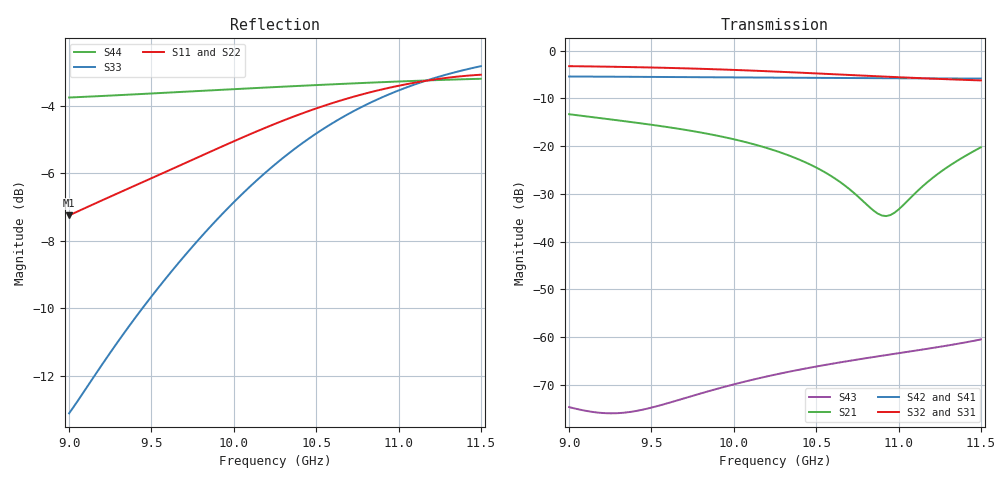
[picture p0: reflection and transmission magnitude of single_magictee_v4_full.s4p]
! Generated from PyAEDT SolutionData; AEDT ExportNetworkData workaround
# GHz S MA R 50
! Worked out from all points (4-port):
!   101 points, 9 GHz to 11.5 GHz, reference 50 ohm
!   strongest paths, dB at 9 GHz, 9.625 GHz, 10.25 GHz, 10.88 GHz, 11.5 GHz:
!     S32: -3.2, -3.6, -4.4, -5.3, -6.2
!     S31: -3.2, -3.6, -4.4, -5.4, -6.2
!     S42: -5.4, -5.5, -5.6, -5.7, -5.8
!     S41: -5.4, -5.5, -5.6, -5.8, -5.9
!     S21: -13.3, -16.1, -20.9, -34.1, -20.2
!     S43: -74.7, -73.6, -67.9, -64.0, -60.5
!   lowest |S11| = -7.2 dB at 9 GHz (marker M1), VSWR 2.53, Z = 73.7 + j53.5 ohm
!   |S11| at or under -10 dB: nowhere
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9  0.4342 42.7  0.2164 -130.1  0.6893 -71.1  0.5381 37.0
   0.2164 -130.1  0.4337 42.6  0.6899 -71.1  0.5377 -143.0
   0.6893 -71.1  0.6899 -71.1  0.221 2.2  0.0001843 38.5
   0.5381 37.0  0.5377 -143.0  0.0001843 38.5  0.6491 -151.2
9.525  0.496 -16.1  0.1654 152.5  0.6659 -171.3  0.5322 -20.0
       0.1654 152.5  0.4954 -16.1  0.6665 -171.3  0.532 159.9
       0.6659 -171.3  0.6665 -171.3  0.3352 -152.1  0.0001868 -0.2
       0.5322 -20.0  0.532 159.9  0.0001868 -0.2  0.6586 158.9
10.025  0.5625 -72.7  0.1155 81.9  0.6273 98.3  0.526 -72.1
        0.1155 81.9  0.5618 -72.8  0.628 98.3  0.526 107.8
        0.6273 98.3  0.628 98.3  0.4605 83.1  0.0003271 -63.9
        0.526 -72.1  0.526 107.8  0.0003271 -63.9  0.6684 112.7
10.45  0.6193 -121.8  0.06591 27.5  0.584 24.7  0.5207 -115.2
       0.06591 27.5  0.6183 -121.9  0.5847 24.6  0.521 64.7
       0.584 24.7  0.5847 24.6  0.5631 -12.2  0.0004728 -131.3
       0.5207 -115.2  0.521 64.7  0.0004728 -131.3  0.6764 74.2
10.85  0.6629 -168.7  0.02104 16.2  0.5422 -42.1  0.5159 -155.2
       0.02104 16.2  0.6617 -168.9  0.5429 -42.2  0.5167 24.8
       0.5422 -42.1  0.5429 -42.2  0.6413 -95.3  0.0006178 162.9
       0.5159 -155.2  0.5167 24.8  0.0006178 162.9  0.6832 38.3
11.2  0.6893 149.6  0.04551 61.5  0.5104 -99.3  0.5122 170.2
      0.04551 61.5  0.6877 149.4  0.5111 -99.4  0.5135 -9.9
      0.5104 -99.3  0.5111 -99.4  0.6916 -164.5  0.000765 105.3
      0.5122 170.2  0.5135 -9.9  0.000765 105.3  0.6884 7.0
11.5  0.7016 112.9  0.09747 31.9  0.4886 -148.5  0.5094 140.6
      0.09747 31.9  0.6997 112.7  0.4893 -148.6  0.5115 -39.5
      0.4886 -148.5  0.4893 -148.6  0.7224 137.7  0.000944 55.8
      0.5094 140.6  0.5115 -39.5  0.000944 55.8  0.692 -19.7
